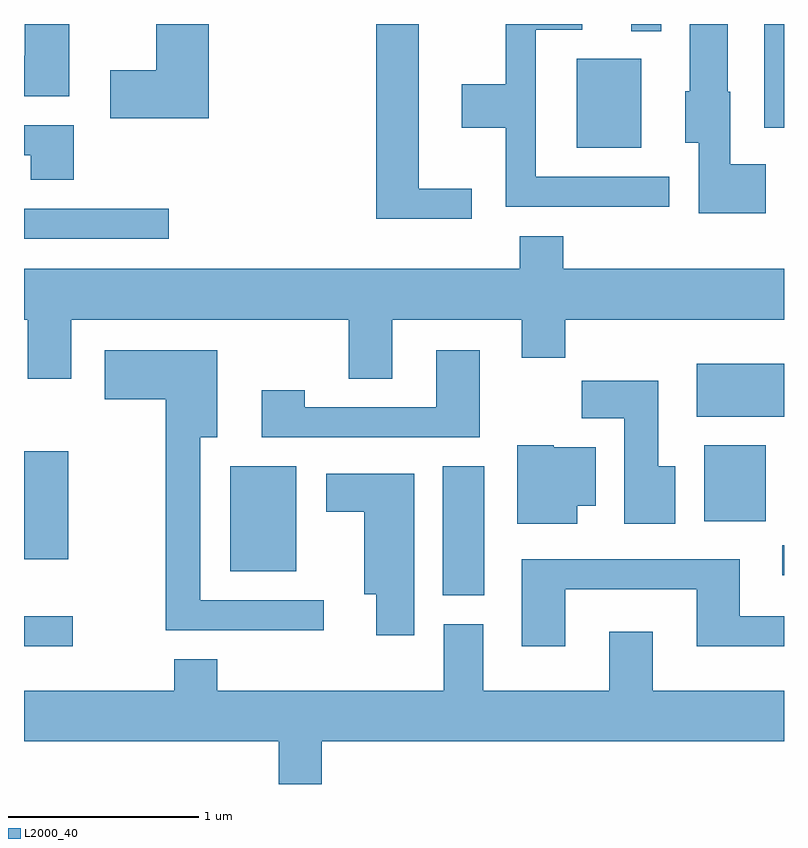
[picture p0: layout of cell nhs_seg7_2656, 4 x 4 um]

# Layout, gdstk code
import gdstk
lib = gdstk.Library(unit=1e-6, precision=1e-09)
def R(c, l, rs):  # rectangles x0, y0, x1, y1
    for r in rs: c.add(gdstk.rectangle(r[:2], r[2:], *l))
def P(c, l, *ps):  # polygons
    for p in ps: c.add(gdstk.Polygon(p, *l))
L2000_40 = (2000, 40)

nhs_seg7_2656 = lib.new_cell('nhs_seg7_2656')
R(nhs_seg7_2656, L2000_40, [(265.611,1776.976,265.868,1777.134), (267.816,1777.246,268.034,1777.924), (269.603,1777.351,269.611,1777.509), (266.696,1777.371,267.044,1777.924), (265.611,1777.436,265.844,1778.004), (269.191,1777.636,269.514,1778.034), (269.151,1778.186,269.611,1778.464), (265.611,1779.121,266.373,1779.279), (268.521,1779.601,268.859,1780.069), (269.506,1779.706,269.611,1780.252), (268.806,1780.213,268.964,1780.252)])
P(nhs_seg7_2656, L2000_40, [(269.514,1779.514),(269.329,1779.514),(269.329,1779.895),(269.314,1779.895),(269.314,1780.252),(269.116,1780.252),(269.116,1779.899),(269.091,1779.899),(269.091,1779.626),(269.161,1779.626),(269.161,1779.256),(269.514,1779.256)],
  [(269.008,1779.449),(268.304,1779.449),(268.304,1780.221),(268.548,1780.221),(268.548,1780.252),(268.146,1780.252),(268.146,1779.934),(267.916,1779.934),(267.916,1779.706),(268.146,1779.706),(268.146,1779.291),(269.008,1779.291)],
  [(265.849,1780.252),(265.616,1780.252),(265.616,1780.084),(265.611,1780.084),(265.611,1779.871),(265.849,1779.871)],
  [(267.968,1779.384),(267.689,1779.384),(267.689,1780.252),(267.466,1780.252),(267.466,1779.226),(267.968,1779.226)],
  [(266.584,1780.252),(266.306,1780.252),(266.306,1780.009),(266.066,1780.009),(266.066,1779.756),(266.584,1779.756)],
  [(265.874,1779.719),(265.611,1779.719),(265.611,1779.561),(265.646,1779.561),(265.646,1779.431),(265.874,1779.431)],
  [(265.859,1778.696),(267.321,1778.696),(267.321,1778.386),(267.549,1778.386),(267.549,1778.696),(268.231,1778.696),(268.231,1778.496),(268.459,1778.496),(268.459,1778.696),(269.611,1778.696),(269.611,1778.964),(268.449,1778.964),(268.449,1779.134),(268.221,1779.134),(268.221,1778.964),(265.611,1778.964),(265.611,1778.696),(265.631,1778.696),(265.631,1778.386),(265.859,1778.386)],
  [(267.188,1777.219),(266.539,1777.219),(266.539,1778.076),(266.629,1778.076),(266.629,1778.534),(266.036,1778.534),(266.036,1778.276),(266.356,1778.276),(266.356,1777.061),(267.188,1777.061)],
  [(268.009,1778.534),(267.781,1778.534),(267.781,1778.234),(267.089,1778.234),(267.089,1778.324),(266.861,1778.324),(266.861,1778.076),(268.009,1778.076)],
  [(269.039,1777.924),(268.949,1777.924),(268.949,1778.374),(268.546,1778.374),(268.546,1778.176),(268.771,1778.176),(268.771,1777.621),(269.039,1777.621)],
  [(268.524,1777.716),(268.619,1777.716),(268.619,1778.024),(268.4,1778.024),(268.4,1778.034),(268.206,1778.034),(268.206,1777.621),(268.524,1777.621)],
  [(267.664,1777.884),(267.201,1777.884),(267.201,1777.686),(267.401,1777.686),(267.401,1777.251),(267.466,1777.251),(267.466,1777.036),(267.664,1777.036)],
  [(268.459,1777.276),(269.151,1777.276),(269.151,1776.976),(269.611,1776.976),(269.611,1777.134),(269.379,1777.134),(269.379,1777.434),(268.231,1777.434),(268.231,1776.976),(268.459,1776.976)],
  [(267.179,1776.476),(269.611,1776.476),(269.611,1776.744),(268.919,1776.744),(268.919,1777.054),(268.691,1777.054),(268.691,1776.744),(268.029,1776.744),(268.029,1777.094),(267.821,1777.094),(267.821,1776.744),(266.629,1776.744),(266.629,1776.909),(266.401,1776.909),(266.401,1776.744),(265.611,1776.744),(265.611,1776.476),(266.951,1776.476),(266.951,1776.252),(267.179,1776.252)])

lib.write_gds('nhs_seg7_2656.gds')
